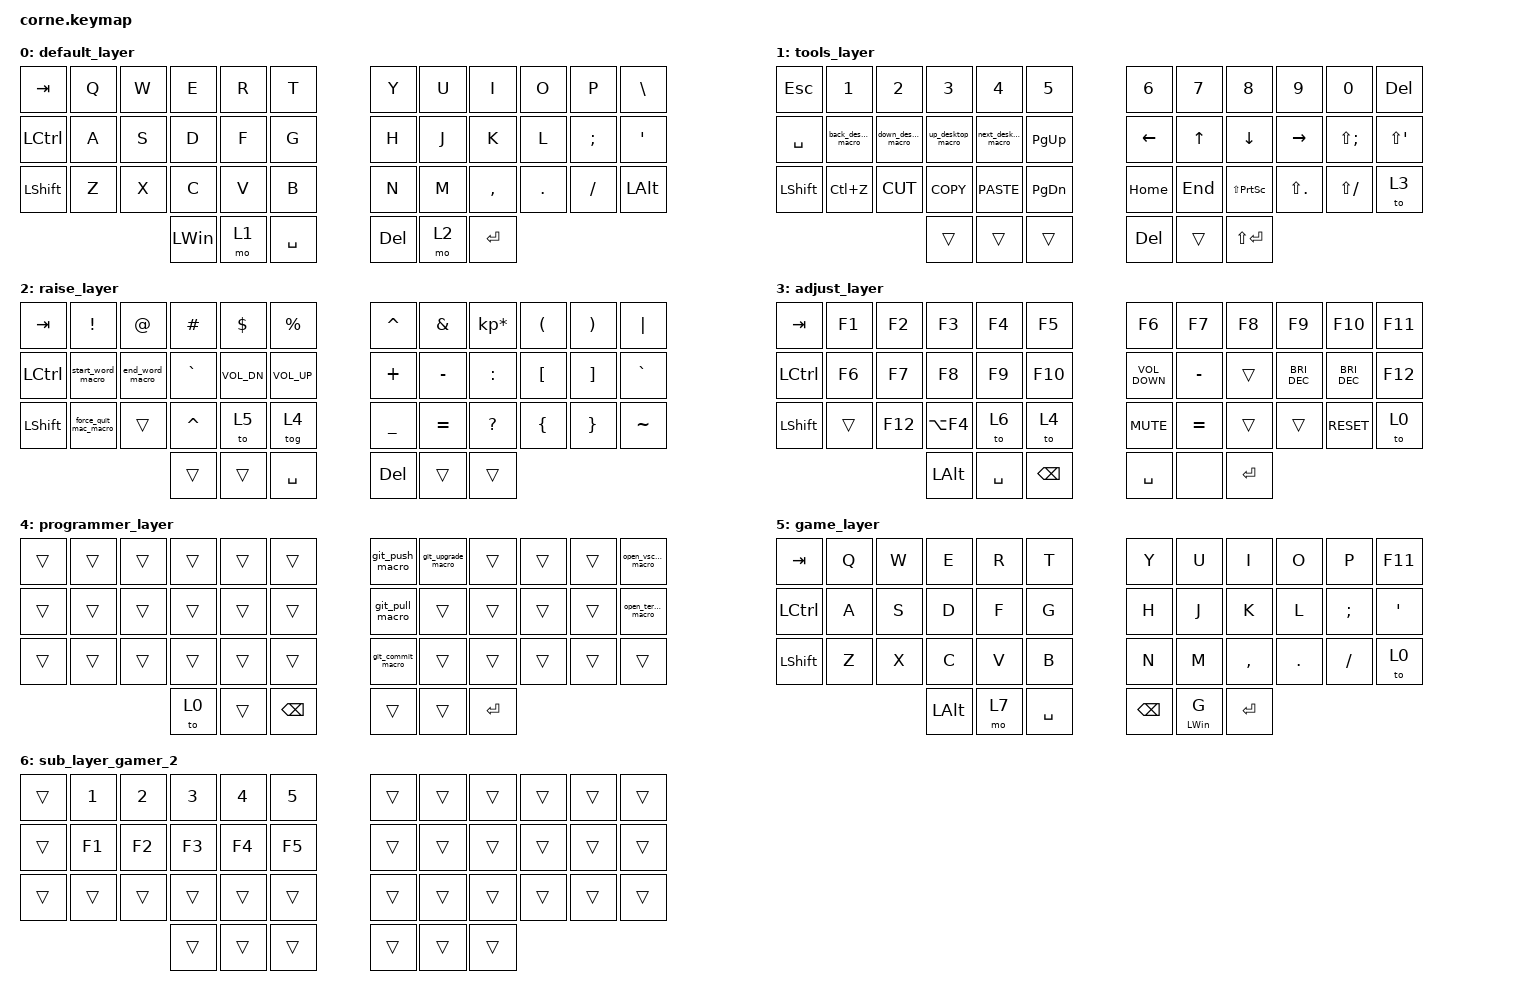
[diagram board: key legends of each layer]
/*
 * Copyright (c) 2020 The ZMK Contributors
 *
 * SPDX-License-Identifier: MIT
 */

#include <behaviors.dtsi>
#include <dt-bindings/zmk/keys.h>

#define DEFAULT 0
#define LOWER   1
#define RAISE   2
#define DAVINCI 3
#define GAME    4

/ {
    combos {
        compatible = "zmk,combos";

        combo_capslock {
            bindings = <&caps_word>;
            key-positions = <24>;
        };
    };

    macros {
        git_upgrade_macro: git_upgrade_macro {
            compatible = "zmk,behavior-macro";
            #binding-cells = <0>;
            bindings = <&kp G &kp I &kp T &kp SPACE &kp U &kp P &kp G &kp R &kp A &kp D &kp E &kp SPACE &kp RET>;
            label = "GIT_UPGRADE_MACRO";
        };

        git_commit_macro: git_commit_macro {
            compatible = "zmk,behavior-macro";
            #binding-cells = <0>;
            bindings = <&kp G &kp I &kp T &kp SPACE &kp C &kp SPACE &kp DQT &kp DQT &kp LEFT_ARROW>;
            label = "GIT_COMMIT_MACRO";
        };

        git_push_macro: git_push {
            compatible = "zmk,behavior-macro";
            #binding-cells = <0>;
            bindings = <&kp G &kp I &kp T &kp SPACE &kp P &kp U &kp S &kp H &kp SPACE>;
            label = "GIT_PUSH";
        };

        git_pull_macro: git_pull_macro {
            compatible = "zmk,behavior-macro";
            #binding-cells = <0>;
            bindings = <&kp G &kp I &kp T &kp SPACE &kp P &kp U &kp S &kp H &kp SPACE>;
            label = "GIT_PULL_MACRO";
        };

        exit_terminal_macro: exit_terminal_macro {
            compatible = "zmk,behavior-macro";
            #binding-cells = <0>;
            bindings = <&kp E &kp X &kp I &kp T &kp SPACE &kp RET>;
            label = "EXIT_TERMINAL_MACRO";
        };

        open_vscode_macro: open_vscode_macro {
            compatible = "zmk,behavior-macro";
            #binding-cells = <0>;
            bindings = <&kp LEFT_WIN &kp SPACE &kp V &kp I &kp S &kp U &kp A &kp L &kp RET>;
            label = "OPEN_VSCODE_MACRO";
        };

        open_terminal_macro: open_terminal_macro {
            compatible = "zmk,behavior-macro";
            #binding-cells = <0>;
            bindings = <&kp LEFT_COMMAND &kp SPACE &kp T &kp E &kp R &kp M &kp I &kp N &kp A &kp L>;
            label = "OPEN_TERMINAL_MACRO";
        };

        next_desktop_macro: next_desktop_macro {
            compatible = "zmk,behavior-macro";
            #binding-cells = <0>;
            bindings = <&kp LEFT_CONTROL &kp RIGHT>;
            label = "NEXT_DESKTOP_MACRO";
        };

        back_desktop_macro: back_desktop_macro {
            compatible = "zmk,behavior-macro";
            #binding-cells = <0>;
            bindings = <&kp LEFT_CONTROL &kp LEFT_ARROW>;
            label = "BACK_DESKTOP_MACRO";
        };

        up_desktop_macro: up_desktop_macro {
            compatible = "zmk,behavior-macro";
            #binding-cells = <0>;
            bindings = <&kp LEFT_CONTROL &kp UP_ARROW>;
            label = "UP_DESKTOP_MACRO";
        };

        down_desktop_macro: down_desktop_macro {
            compatible = "zmk,behavior-macro";
            #binding-cells = <0>;
            bindings = <&kp LEFT_CONTROL &kp DOWN_ARROW>;
            label = "DOWN_DESKTOP_MACRO";
        };

        start_word_macro: start_word_macro {
            compatible = "zmk,behavior-macro";
            #binding-cells = <0>;
            bindings = <&kp LEFT_ALT &kp LEFT_ARROW>;
            label = "START_WORD_MACRO";
        };

        end_word_macro: end_word_macro {
            compatible = "zmk,behavior-macro";
            #binding-cells = <0>;
            bindings = <&kp LEFT_ALT &kp RIGHT_ARROW>;
            label = "END_WORD_MACRO";
        };

        force_quit_mac_macro: force_quit_mac_macro {
            compatible = "zmk,behavior-macro";
            #binding-cells = <0>;
            bindings = <&kp LEFT_COMMAND &kp Q>;
            label = "FORCE_QUIT_MAC_MACRO";
        };
    };

    keymap {
        compatible = "zmk,keymap";

        default_layer {
            // ------------------------------------------------------------------------------------
            // |  TAB |  Q  |  W  |  E      |  R  |  T  |   |  Y  |  U   |  I  |  O  |  P  |  \   |
            // | CTRL |  A  |  S  |  D      |  F  |  G  |   |  H  |  J   |  K  |  L  |  ;  |  '   |
            // | SHFT |  Z  |  X  |  C      |  V  |  B  |   |  N  |  M   |  ,  |  .  |  /  | GUI  |
            //                    | ESC/ALT | LWR | BKSP|   | SPC | RSE  | ENT |

            bindings = <
&kp TAB    &kp Q  &kp W  &kp E         &kp R  &kp T        &kp Y       &kp U  &kp I      &kp O    &kp P     &kp BSLH
&kp LCTRL  &kp A  &kp S  &kp D         &kp F  &kp G        &kp H       &kp J  &kp K      &kp L    &kp SEMI  &kp SQT
&kp LSHFT  &kp Z  &kp X  &kp C         &kp V  &kp B        &kp N       &kp M  &kp COMMA  &kp DOT  &kp FSLH  &kp LALT
                         &kp LEFT_WIN  &mo 1  &kp SPACE    &kp DELETE  &mo 2  &kp RET
            >;
        };

        tools_layer {
            // -----------------------------------------------------------------------------------------------------------
            // |  ESC |  1    |  2    |  3    |  4    |  5   |   |  6     |  7   |  8       |  9     |  0      | DEL     |
            // | SPACE| LG(1) | LG(2) | LG(3) | LG(E) | PGUP |   | LFT    | DWN  |  UP      | RGT    | LS(SEMI)| LS(SQT) |
            // | SHFT | LC(Z) | LC(X) | LC(C) | LC(V) | PGDN |   | HOME   | END  | LS(COMMA)| LS(DOT)| LS(FSLH)| DAVINCI |
            //                        | trans | trans | trans|   | LG(SPC)| trans|  LS(RET) |

            bindings = <
&kp ESC    &kp N1               &kp N2               &kp N3             &kp N4               &kp N5       &kp N6      &kp N7        &kp N8               &kp N9       &kp N0        &kp DEL
&kp SPACE  &back_desktop_macro  &down_desktop_macro  &up_desktop_macro  &next_desktop_macro  &kp PG_UP    &kp LEFT    &kp UP_ARROW  &kp DOWN_ARROW       &kp RIGHT    &kp LS(SEMI)  &kp LS(SQT)
&kp LSHFT  &kp LC(Z)            &kp K_CUT            &kp K_COPY         &kp K_PASTE          &kp PG_DN    &kp HOME    &kp END       &kp LS(PRINTSCREEN)  &kp LS(DOT)  &kp LS(FSLH)  &to 3
                                                     &trans             &trans               &trans       &kp DELETE  &trans        &kp LS(RET)
            >;
        };

        raise_layer {
            // ---------------------------------------------------------------------------------------------
            // |  ESC  |  !      |  @  |  #  |  $    |   %    |    |  ^  |  &  |  *  |  (  |  )  | |       |
            // |  LCAPS|         |     |  `  |  ~    | VOL_UP |    |  +  |  -  |  :  |  [  |  ]  | PS      |
            // |       |LC(LS(Z))|     |  ^  |       | VOL_DN |    |  _  |  =  |  ?  |  {  |  }  | TO GAME |
            //                         |     |       | LC(SPC)|    |     |     |     |

            bindings = <
&kp TAB           &kp EXCL               &kp AT           &kp HASH   &kp DLLR      &kp PRCNT       &kp CARET   &kp AMPS   &kp KP_MULTIPLY  &kp LPAR  &kp RPAR  &kp PIPE
&kp LEFT_CONTROL  &start_word_macro      &end_word_macro  &kp GRAVE  &kp C_VOL_DN  &kp C_VOL_UP    &kp PLUS    &kp MINUS  &kp COLON        &kp LBKT  &kp RBKT  &kp GRAVE
&kp LEFT_SHIFT    &force_quit_mac_macro  &trans           &kp CARET  &to 5         &tog 4          &kp UNDER   &kp EQUAL  &kp QMARK        &kp LBRC  &kp RBRC  &kp TILDE
                                                          &trans     &trans        &kp SPACE       &kp DELETE  &trans     &trans
            >;
        };

        adjust_layer {
            // ---------------------------------------------------------------------------------------------------------
            // |  ESC   |  F1 |  F2      | F3        |  F4     |   F5   |    | F6   |  F7  |  F8  |  F9  | F10  | F11  | 
            // |  PS    |LC(S)| LC {     | LC }      | LC \    | VOL_UP |    | DEL  |      |      |      |      | F12  |
            // |        |LEFT | LS(LEFT) | LS(RIGHT) | RIGHT   | VOL_DN |    |LC(Z) |      |      |      |      | TO(1)|
            //                           | LALT      | SPACE   |        |    |LC(C) |LC(X) |LC(V) | 

            bindings = <
&kp TAB           &kp F1  &kp F2   &kp F3      &kp F4     &kp F5           &kp F6             &kp F7     &kp F8     &kp F9                &kp F10               &kp F11
&kp LEFT_CONTROL  &kp F6  &kp F7   &kp F8      &kp F9     &kp F10          &kp C_VOLUME_DOWN  &kp MINUS  &trans     &kp C_BRIGHTNESS_DEC  &kp C_BRIGHTNESS_DEC  &kp F12
&kp LEFT_SHIFT    &trans  &kp F12  &kp LA(F4)  &to 6      &to 4            &kp K_MUTE         &kp EQUAL  &trans     &trans                &kp C_RESET           &to 0
                                   &kp LALT    &kp SPACE  &kp BACKSPACE    &kp SPACE          &none      &kp ENTER
            >;
        };

        programmer_layer {
            bindings = <
&trans  &trans  &trans  &trans  &trans  &trans           &git_push_macro    &git_upgrade_macro  &trans     &trans  &trans  &open_vscode_macro
&trans  &trans  &trans  &trans  &trans  &trans           &git_pull_macro    &trans              &trans     &trans  &trans  &open_terminal_macro
&trans  &trans  &trans  &trans  &trans  &trans           &git_commit_macro  &trans              &trans     &trans  &trans  &trans
                        &to 0   &trans  &kp BACKSPACE    &trans             &trans              &kp ENTER
            >;
        };

        game_layer {
            // -------------------------------------------------------------------------------------------------
            // |  ESC     |  Q  |  W  |  E      |  R    |  T  |   |  *  |  7   |  8  |  9  |  +  |  F11        |
            // | CTRL/TAB |  A  |  S  |  D      |  F    |  G  |   |  /  |  4   |  5  |  6  |  -  |  ENT        |
            // | SHFT     |  Z  |  X  |  C      |  V    |  B  |   |  .  |  1   |  2  |  3  |  ,  |  TO DEFAULT |
            //                        |  ALT    |  LGUI | SPC |   | BCPC|  =   |  0  |

            bindings = <
&kp TAB           &kp Q  &kp W  &kp E     &kp R  &kp T        &kp Y     &kp U       &kp I      &kp O       &kp P          &kp F11
&kp LEFT_CONTROL  &kp A  &kp S  &kp D     &kp F  &kp G        &kp H     &kp J       &kp K      &kp L       &kp SEMICOLON  &kp SQT
&kp LSHFT         &kp Z  &kp X  &kp C     &kp V  &kp B        &kp N     &kp M       &kp COMMA  &kp PERIOD  &kp SLASH      &to 0
                                &kp LALT  &mo 7  &kp SPACE    &kp BSPC  &mt LWIN G  &kp ENTER
            >;
        };

        sub_layer_gamer_2 {
            bindings = <
&trans  &kp N1  &kp N2  &kp N3  &kp N4  &kp N5    &trans  &trans  &trans  &trans  &trans  &trans
&trans  &kp F1  &kp F2  &kp F3  &kp F4  &kp F5    &trans  &trans  &trans  &trans  &trans  &trans
&trans  &trans  &trans  &trans  &trans  &trans    &trans  &trans  &trans  &trans  &trans  &trans
                        &trans  &trans  &trans    &trans  &trans  &trans
            >;
        };
    };
};
